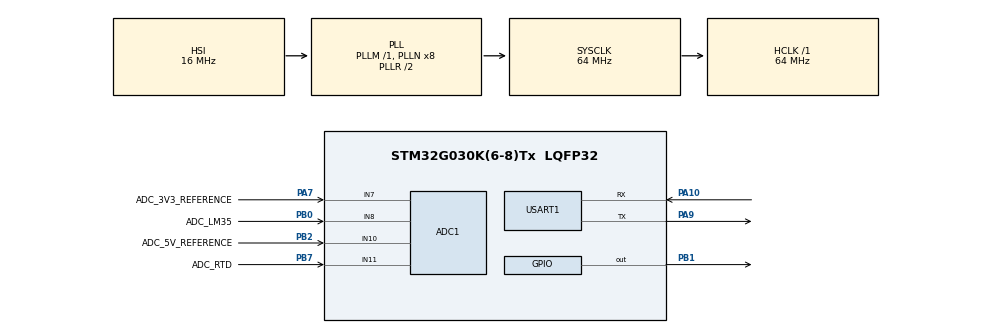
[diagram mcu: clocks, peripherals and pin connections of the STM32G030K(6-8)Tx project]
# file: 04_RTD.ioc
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ADC1.Channel-4\#ChannelRegularConversion=ADC_CHANNEL_10
ADC1.Channel-5\#ChannelRegularConversion=ADC_CHANNEL_11
ADC1.Channel-6\#ChannelRegularConversion=ADC_CHANNEL_8
ADC1.Channel-7\#ChannelRegularConversion=ADC_CHANNEL_7
ADC1.ClockPrescaler=ADC_CLOCK_ASYNC_DIV16
ADC1.ContinuousConvMode=ENABLE
ADC1.DMAContinuousRequests=ENABLE
ADC1.EOCSelection=ADC_EOC_SEQ_CONV
ADC1.NbrOfConversion=4
ADC1.NbrOfConversionFlag=1
ADC1.OversamplingMode=DISABLE
ADC1.Rank-4\#ChannelRegularConversion=1
ADC1.Rank-5\#ChannelRegularConversion=2
ADC1.Rank-6\#ChannelRegularConversion=3
ADC1.Rank-7\#ChannelRegularConversion=4
ADC1.SamplingTime-4\#ChannelRegularConversion=ADC_SAMPLINGTIME_COMMON_1
ADC1.SamplingTime-5\#ChannelRegularConversion=ADC_SAMPLINGTIME_COMMON_1
ADC1.SamplingTime-6\#ChannelRegularConversion=ADC_SAMPLINGTIME_COMMON_1
ADC1.SamplingTime-7\#ChannelRegularConversion=ADC_SAMPLINGTIME_COMMON_1
ADC1.SamplingTimeCommon1=ADC_SAMPLETIME_160CYCLES_5
ADC1.SelectedChannel=ADC_CHANNEL_7|ADC_CHANNEL_8|ADC_CHANNEL_10|ADC_CHANNEL_11
ADC1.Sequencer=FULLY_CONFIGURABLE
ADC1.master=1
Dma.ADC1.0.Direction=DMA_PERIPH_TO_MEMORY
Dma.ADC1.0.EventEnable=DISABLE
Dma.ADC1.0.Instance=DMA1_Channel1
Dma.ADC1.0.MemDataAlignment=DMA_MDATAALIGN_WORD
Dma.ADC1.0.MemInc=DMA_MINC_ENABLE
Dma.ADC1.0.Mode=DMA_CIRCULAR
Dma.ADC1.0.PeriphDataAlignment=DMA_PDATAALIGN_WORD
Dma.ADC1.0.PeriphInc=DMA_PINC_DISABLE
Dma.ADC1.0.Polarity=HAL_DMAMUX_REQ_GEN_RISING
Dma.ADC1.0.Priority=DMA_PRIORITY_LOW
Dma.ADC1.0.RequestNumber=1
Dma.ADC1.0.SignalID=NONE
Dma.ADC1.0.SyncEnable=DISABLE
Dma.ADC1.0.SyncPolarity=HAL_DMAMUX_SYNC_NO_EVENT
Dma.ADC1.0.SyncRequestNumber=1
Dma.ADC1.0.SyncSignalID=NONE
Dma.Request0=ADC1
Mcu.Family=STM32G0
Mcu.Name=STM32G030K(6-8)Tx
Mcu.Package=LQFP32
NVIC.DMA1_Channel1_IRQn=true\:0\:0\:false\:false\:true\:false\:true\:true
PA10.Mode=Asynchronous
PA10.Signal=USART1_RX
PA13.Mode=Serial_Wire
PA13.Signal=SYS_SWDIO
PA14-BOOT0.Mode=Serial_Wire
PA14-BOOT0.Signal=SYS_SWCLK
PA7.GPIO_Label=ADC_3V3_REFERENCE
PA7.Mode=IN7
PA7.Signal=ADC1_IN7
PA9.Mode=Asynchronous
PA9.Signal=USART1_TX
PB0.GPIO_Label=ADC_LM35
PB0.Mode=IN8
PB0.Signal=ADC1_IN8
PB1.Signal=GPIO_Output
PB2.GPIO_Label=ADC_5V_REFERENCE
PB2.Mode=IN10
PB2.Signal=ADC1_IN10
PB7.GPIO_Label=ADC_RTD
PB7.Mode=IN11
PB7.Signal=ADC1_IN11
PC14-OSC32_IN\ (PC14).Mode=HSE-External-Clock-Source
PC14-OSC32_IN\ (PC14).Signal=RCC_OSC_IN
PC15-OSC32_OUT\ (PC15).Mode=OSC enable
PC15-OSC32_OUT\ (PC15).Signal=RCC_OSC_EN
ProjectManager.HeapSize=0x200
ProjectManager.StackSize=0x400
ProjectManager.TargetToolchain=CMake
RCC.ADCCLockSelection=RCC_ADCCLKSOURCE_PLLADC
RCC.ADCFreq_Value=4000000
RCC.AHBFreq_Value=64000000
RCC.CortexFreq_Value=64000000
RCC.EXTERNAL_CLOCK_VALUE=12288000
RCC.HCLKFreq_Value=64000000
RCC.HSE_VALUE=8000000
RCC.HSI_VALUE=16000000
RCC.LSE_VALUE=32768
RCC.PLLP=RCC_PLLP_DIV32
RCC.SYSCLKFreq_VALUE=64000000
RCC.SYSCLKSource=RCC_SYSCLKSOURCE_PLLCLK
RCC.VCOOutputFreq_Value=128000000
USART1.VirtualMode-Asynchronous=VM_ASYNC
board=custom

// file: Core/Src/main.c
/* USER CODE BEGIN Header */
/**
  ******************************************************************************
  * @file           : main.c
  * @brief          : Main program body
  ******************************************************************************
  * @attention
  *
  * Copyright (c) 2025 STMicroelectronics.
  * All rights reserved.
  *
  * This software is licensed under terms that can be found in the LICENSE file
  * in the root directory of this software component.
  * If no LICENSE file comes with this software, it is provided AS-IS.
  *
  ******************************************************************************
  */
/* USER CODE END Header */
#include "main.h"
#include "adc.h"
#include "dma.h"
#include "usart.h"
#include "gpio.h"

/* USER CODE BEGIN Includes */

#include <stdio.h>
#include <math.h>
#include <inttypes.h>

#include "../../Drivers/FIR/FIR.h"

/* USER CODE END Includes */

/* USER CODE BEGIN PTD */

#define UART_LENGHT   255   //Lenght of message submited through UART
#define R2            1000  //Value of 2nd resistor in Voltage divider with RTD
#define R0            1000  //Value of RTD at 0C

#define A             3.9083e-03    //RTD Constant
#define B             -5.775e-07    //RTD Constant

/* USER CODE END PTD */

/* USER CODE BEGIN PV */

uint32_t AD_RES[4];           //ADC Input

uint8_t RTD_FLAG = 0;         //ADC Read flag

uint16_t ADC_5V0_REF  = 0;    //Measured value of 5V0 reference voltage
uint16_t ADC_3V3_REF  = 0;    //Measured value of 3V3 reference voltage
uint16_t ADC_TEMP = 0;        //Measured value at RTD
uint16_t ADC_LM35 = 0;        //Measured value at LM35
uint16_t R1 = 0;              //Resistance of RTD
uint8_t Temp = 0;             //Temperature of RTD
uint8_t AvgTemp = 0;          //Average temperature reading - RTD
uint8_t LM35_Temp = 0;        //Temperature of LM35
uint8_t AvgLM35_Temp = 0;     //Average temperature reading - LM35

int8_t C = 0;                 //Member of quadratic function
uint8_t MSG[UART_LENGHT];     //UART Message

/* USER CODE END PV */

void SystemClock_Config(void);

int main(void)
{

  /* MCU Configuration--------------------------------------------------------*/

  /* Reset of all peripherals, Initializes the Flash interface and the Systick. */
  HAL_Init();

  /* Configure the system clock */
  SystemClock_Config();

  /* Initialize all configured peripherals */
  MX_GPIO_Init();
  MX_DMA_Init();
  MX_ADC1_Init();
  MX_USART1_UART_Init();
  /* USER CODE BEGIN 2 */

  HAL_ADC_Start_DMA(&hadc1, AD_RES, 4);

  uint8_t Filters_Buffers[SUMMING_BUFFER_LEN];
  static FIR_Filter_cfg FIR_CfgParam[FILTERS_NUM] = {0};
  FIR_CfgParam->Buffer_Index = 0;
  FIR_CfgParam->Filter_Order = SUMMING_BUFFER_LEN;
  FIR_CfgParam->Data_Buffer = Filters_Buffers;

  float temp2;
  double temp3;
  double temp4;

  /* USER CODE END 2 */

  /* Infinite loop */
  /* USER CODE BEGIN WHILE */
  while (1)
  {

    if(RTD_FLAG)
    {
      //Calculate Reference voltages
      ADC_3V3_REF = (uint16_t)AD_RES[3];
      ADC_5V0_REF = (uint16_t)AD_RES[0];

      //Calculate value of LM35
      ADC_LM35 = (uint16_t)AD_RES[2];
      temp3 = (ADC_3V3_REF * 2);
      temp4 = (3.3 / temp3) * 100;
      LM35_Temp = (uint8_t)(ADC_LM35 * temp4);

      AVG_FIR_LPF(LM35_Temp, &AvgLM35_Temp, &FIR_CfgParam[FILTER_2]);

      //Calculate resistance of RTD
      ADC_TEMP = (uint16_t)AD_RES[1];
      R1 = ((( ADC_5V0_REF * R2 * 2 ) / ADC_TEMP ) - R2);

      //Calculate temperature, depending on RTD Value
      temp2 = (4.0*B*(1.0 -(((float)R1)/((float)R0))));

      Temp = ((-A + sqrt(pow(A, 2) - temp2)) / (2*B));

      AVG_FIR_LPF(Temp, &AvgTemp, &FIR_CfgParam[FILTER_1]);

      sprintf((char*)MSG, ",%d, %d, %d\r\n", R1, AvgTemp, LM35_Temp);
      HAL_UART_Transmit(&huart1, MSG, sizeof(MSG), 100);

      RTD_FLAG = 0;
    }

    HAL_Delay(50);
    /* USER CODE END WHILE */

  }
}

void SystemClock_Config(void)
{
  RCC_OscInitTypeDef RCC_OscInitStruct = {0};
  RCC_ClkInitTypeDef RCC_ClkInitStruct = {0};

  /** Configure the main internal regulator output voltage
  */
  HAL_PWREx_ControlVoltageScaling(PWR_REGULATOR_VOLTAGE_SCALE1);

  /** Initializes the RCC Oscillators according to the specified parameters
  * in the RCC_OscInitTypeDef structure.
  */
  RCC_OscInitStruct.OscillatorType = RCC_OSCILLATORTYPE_HSI;
  RCC_OscInitStruct.HSIState = RCC_HSI_ON;
  RCC_OscInitStruct.HSIDiv = RCC_HSI_DIV1;
  RCC_OscInitStruct.HSICalibrationValue = RCC_HSICALIBRATION_DEFAULT;
  RCC_OscInitStruct.PLL.PLLState = RCC_PLL_ON;
  RCC_OscInitStruct.PLL.PLLSource = RCC_PLLSOURCE_HSI;
  RCC_OscInitStruct.PLL.PLLM = RCC_PLLM_DIV1;
  RCC_OscInitStruct.PLL.PLLN = 8;
  RCC_OscInitStruct.PLL.PLLP = RCC_PLLP_DIV32;
  RCC_OscInitStruct.PLL.PLLR = RCC_PLLR_DIV2;
  if (HAL_RCC_OscConfig(&RCC_OscInitStruct) != HAL_OK)
  {
    Error_Handler();
  }

  /** Initializes the CPU, AHB and APB buses clocks
  */
  RCC_ClkInitStruct.ClockType = RCC_CLOCKTYPE_HCLK|RCC_CLOCKTYPE_SYSCLK
                              |RCC_CLOCKTYPE_PCLK1;
  RCC_ClkInitStruct.SYSCLKSource = RCC_SYSCLKSOURCE_PLLCLK;
  RCC_ClkInitStruct.AHBCLKDivider = RCC_SYSCLK_DIV1;
  RCC_ClkInitStruct.APB1CLKDivider = RCC_HCLK_DIV1;

  if (HAL_RCC_ClockConfig(&RCC_ClkInitStruct, FLASH_LATENCY_2) != HAL_OK)
  {
    Error_Handler();
  }
}

/* USER CODE BEGIN 4 */
void HAL_ADC_ConvCpltCallback(ADC_HandleTypeDef* hadc)
{
   RTD_FLAG = 1;
}

/* USER CODE END 4 */

void Error_Handler(void)
{
  __disable_irq();
  while (1)
  {
  }
}
